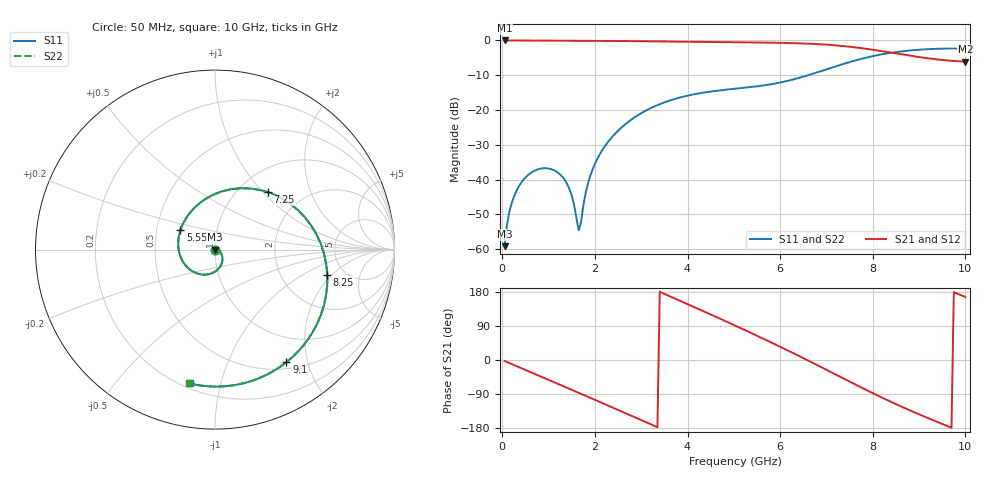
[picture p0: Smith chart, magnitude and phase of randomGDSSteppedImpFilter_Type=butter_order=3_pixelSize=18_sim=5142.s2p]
! freq	dB(S11)	phase(S11)	dB(S12)	phase(S12)
!  dB(S21)	phase(S21)	dB(S22)	phase(S22)
!S-par simulation data
#  GHz  S  DB  R 50
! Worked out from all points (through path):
!   200 points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, 50 MHz to 10 GHz, reference 50 ohm
!   highest |S21| = -0.01 dB at 50 MHz (marker M1); lowest = -6.1 dB at 10 GHz (marker M2)
!   group delay of S21, straight-line fit = 156 ps
!   lowest |S11| = -59.1 dB at 50 MHz (marker M3), VSWR 1.00, Z = 50 - j0.11 ohm
!   |S11| at or under -10 dB: start of sweep to 6.601 GHz
!   |S22| runs from -59.1 to -2.3 dB; largest |S21 - S12| = 0
!   S11 on the Smith chart (normalised r, x): 50 MHz: 1.00, -0.00; 5.55 GHz: 0.66, +0.15; 7.25 GHz: 1.35, +1.07; 8.25 GHz: 3.70, -1.74; 9.1 GHz: 0.59, -1.66; 10 GHz: 0.23, -0.80
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0.05  -59.13 -87.4  -0.01 -2.7  -0.01 -2.7  -59.13 -87.4
0.15  -49.46 -94.2  -0.02 -7.9  -0.02 -7.9  -49.46 -94.2
0.25  -44.94 -100.0  -0.02 -13.2  -0.02 -13.2  -44.94 -100.0
0.7  -37.42 -127.1  -0.04 -36.7  -0.04 -36.7  -37.42 -127.1
1.35  -40.14 -168.3  -0.08 -70.8  -0.08 -70.8  -40.14 -168.3
1.5  -44.62 176.5  -0.09 -78.7  -0.09 -78.7  -44.62 176.5
1.65  -54.56 102.5  -0.10 -86.6  -0.10 -86.6  -54.59 102.6
1.75  -47.42 22.5  -0.10 -91.9  -0.10 -91.9  -47.43 22.4
1.95  -37.06 -4.8  -0.12 -102.4  -0.12 -102.4  -37.06 -4.9
2.25  -29.76 -24.9  -0.14 -118.4  -0.14 -118.4  -29.76 -25.0
3.4  -18.32 -89.1  -0.29 180.0  -0.29 180.0  -18.32 -89.2
4.3  -15.09 -138.3  -0.43 131.1  -0.43 131.1  -15.09 -138.4
5.05  -13.86 179.8  -0.53 89.6  -0.53 89.6  -13.86 179.5
5.55  -13.11 150.8  -0.60 61.1  -0.60 61.1  -13.11 150.5
6.15  -11.65 115.0  -0.73 26.0  -0.73 26.0  -11.65 114.6
6.7  -9.59 81.4  -0.99 -7.3  -0.99 -7.3  -9.59 81.0
7.25  -7.23 47.3  -1.48 -41.4  -1.48 -41.4  -7.23 47.0
7.75  -5.30 16.8  -2.21 -72.4  -2.21 -72.4  -5.31 16.4
8.25  -3.87 -12.5  -3.19 -102.2  -3.19 -102.2  -3.87 -12.8
8.35  -3.64 -18.1  -3.40 -107.9  -3.40 -107.9  -3.64 -18.4
9.1  -2.58 -57.7  -4.97 -148.5  -4.97 -148.5  -2.58 -57.9
10  -2.40 -100.8  -6.07 166.3  -6.07 166.3  -2.40 -101.0
